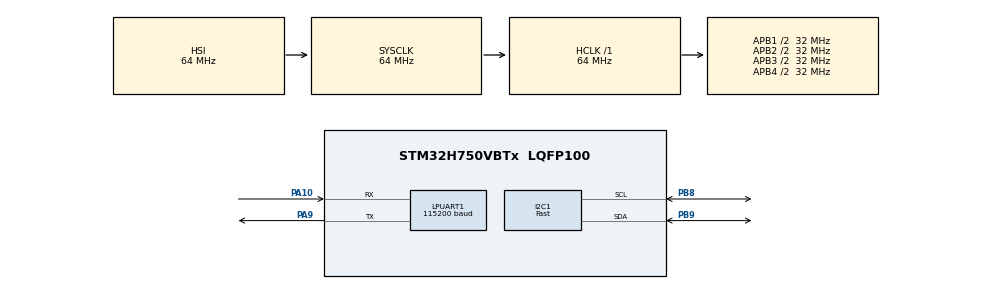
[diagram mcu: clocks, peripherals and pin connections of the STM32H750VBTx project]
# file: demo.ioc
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Dma.I2C1_TX.0.Direction=DMA_MEMORY_TO_PERIPH
Dma.I2C1_TX.0.EventEnable=DISABLE
Dma.I2C1_TX.0.FIFOMode=DMA_FIFOMODE_DISABLE
Dma.I2C1_TX.0.Instance=DMA1_Stream0
Dma.I2C1_TX.0.MemDataAlignment=DMA_MDATAALIGN_BYTE
Dma.I2C1_TX.0.MemInc=DMA_MINC_ENABLE
Dma.I2C1_TX.0.Mode=DMA_NORMAL
Dma.I2C1_TX.0.PeriphDataAlignment=DMA_PDATAALIGN_BYTE
Dma.I2C1_TX.0.PeriphInc=DMA_PINC_DISABLE
Dma.I2C1_TX.0.Polarity=HAL_DMAMUX_REQ_GEN_RISING
Dma.I2C1_TX.0.Priority=DMA_PRIORITY_LOW
Dma.I2C1_TX.0.RequestNumber=1
Dma.I2C1_TX.0.SignalID=NONE
Dma.I2C1_TX.0.SyncEnable=DISABLE
Dma.I2C1_TX.0.SyncPolarity=HAL_DMAMUX_SYNC_NO_EVENT
Dma.I2C1_TX.0.SyncRequestNumber=1
Dma.I2C1_TX.0.SyncSignalID=NONE
Dma.Request0=I2C1_TX
I2C1.I2C_Fall_Time=0
I2C1.I2C_Rise_Time=0
I2C1.I2C_Speed_Mode=I2C_Fast
I2C1.Speed=400
I2C1.Timing=0x00300F38
LPUART1.BaudRate=115200
Mcu.Family=STM32H7
Mcu.Name=STM32H750VBTx
Mcu.Package=LQFP100
NVIC.DMA1_Stream0_IRQn=true\:2\:0\:true\:false\:true\:false\:true\:true
NVIC.I2C1_ER_IRQn=true\:1\:0\:true\:false\:true\:true\:true\:true
NVIC.I2C1_EV_IRQn=true\:1\:0\:true\:false\:true\:true\:true\:true
NVIC.PriorityGroup=NVIC_PRIORITYGROUP_4
PA10.Mode=Asynchronous
PA10.Signal=LPUART1_RX
PA9.Mode=Asynchronous
PA9.Signal=LPUART1_TX
PB8.Mode=I2C
PB8.Signal=I2C1_SCL
PB9.Mode=I2C
PB9.Signal=I2C1_SDA
PC14-OSC32_IN\ (OSC32_IN).Mode=LSE-External-Oscillator
PC14-OSC32_IN\ (OSC32_IN).Signal=RCC_OSC32_IN
PC15-OSC32_OUT\ (OSC32_OUT).Mode=LSE-External-Oscillator
PC15-OSC32_OUT\ (OSC32_OUT).Signal=RCC_OSC32_OUT
PH0-OSC_IN\ (PH0).Mode=HSE-External-Oscillator
PH0-OSC_IN\ (PH0).Signal=RCC_OSC_IN
PH1-OSC_OUT\ (PH1).Mode=HSE-External-Oscillator
PH1-OSC_OUT\ (PH1).Signal=RCC_OSC_OUT
ProjectManager.HeapSize=0x200
ProjectManager.StackSize=0x400
ProjectManager.TargetToolchain=MDK-ARM V5.32
RCC.ADCFreq_Value=129000000
RCC.APB1Freq_Value=32000000
RCC.APB2Freq_Value=32000000
RCC.APB3Freq_Value=32000000
RCC.APB4Freq_Value=32000000
RCC.CortexFreq_Value=64000000
RCC.D1PPRE=RCC_APB3_DIV2
RCC.D2PPRE1=RCC_APB1_DIV2
RCC.D2PPRE2=RCC_APB2_DIV2
RCC.D3PPRE=RCC_APB4_DIV2
RCC.HCLKFreq_Value=64000000
RCC.SYSCLKFreq_VALUE=64000000
RCC.USBFreq_Value=129000000
board=custom

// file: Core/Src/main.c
/* USER CODE BEGIN Header */
/**
  ******************************************************************************
  * @file           : main.c
  * @brief          : Main program body
  ******************************************************************************
  * @attention
  *
  * Copyright (c) 2023 STMicroelectronics.
  * All rights reserved.
  *
  * This software is licensed under terms that can be found in the LICENSE file
  * in the root directory of this software component.
  * If no LICENSE file comes with this software, it is provided AS-IS.
  *
  ******************************************************************************
  */
/* USER CODE END Header */
#include "main.h"
#include "dma.h"
#include "i2c.h"
#include "usart.h"
#include "gpio.h"

/* USER CODE BEGIN Includes */
#include <stdio.h>
#include <string.h>
#include "24C02Dev.h"
/* USER CODE END Includes */

/* USER CODE BEGIN PD */
uint8_t I2C_Buffer_Write[256];
ALIGN_32BYTES (uint8_t I2C_Buffer_Write[256]) __attribute__((section(".ARM.__at_0x30000000")));
uint8_t I2C_Buffer_Read[256];
uint16_t i;
/* USER CODE END PD */

void SystemClock_Config(void);

int main(void)
{

  /* MCU Configuration--------------------------------------------------------*/

  /* Reset of all peripherals, Initializes the Flash interface and the Systick. */
  HAL_Init();

  /* Configure the system clock */
  SystemClock_Config();

  /* Initialize all configured peripherals */
  MX_GPIO_Init();
  MX_LPUART1_UART_Init();
  MX_DMA_Init();
  MX_I2C1_Init();

  /* Infinite loop */
  while (1)
  {

    /* USER CODE BEGIN 3 */
		printf("\r\n \r\n*********STM32CubeMX I2C AT24C02 Example*********\r\n");
	  for(i=0; i<256; i++)
	  {
      I2C_Buffer_Write[i]=i;    /* WriteBuffer Initialization */
	  }

    if(AT24C02_write_Array(0, I2C_Buffer_Write, sizeof(I2C_Buffer_Write)) == HAL_OK){
        printf("Write OK\r\n");
		}
		else{
			  printf("Write Failed\r\n");
	  }

	  /* write data to AT24C02 */
	  static HAL_StatusTypeDef state;

	  /* read data from EEPROM */
	  printf("\r\n Reading from AT24C02:\r\n");
		state = HAL_I2C_Mem_Read(&hi2c1, ADDR_AT24C02_Read, 0, I2C_MEMADD_SIZE_8BIT,I2C_Buffer_Read,256, 1000);

	  for(i=0; i<256; i++)
	  {
		  printf("0x%02X  ",I2C_Buffer_Read[i]);
	  }
	  HAL_Delay(500);
//

	  if(memcmp(I2C_Buffer_Read,I2C_Buffer_Write,256) == 0 ) /* check data */
			printf("\r\n AT24C02 Read Test OK DATA\r\n");
	  else
	      printf("\r\n AT24C02 Read Test Failed\r\n");

    while (1);
  }
  /* USER CODE END 3 */
}

void SystemClock_Config(void)
{
  RCC_OscInitTypeDef RCC_OscInitStruct = {0};
  RCC_ClkInitTypeDef RCC_ClkInitStruct = {0};

  /** Supply configuration update enable
  */
  HAL_PWREx_ConfigSupply(PWR_LDO_SUPPLY);

  /** Configure the main internal regulator output voltage
  */
  __HAL_PWR_VOLTAGESCALING_CONFIG(PWR_REGULATOR_VOLTAGE_SCALE3);

  while(!__HAL_PWR_GET_FLAG(PWR_FLAG_VOSRDY)) {}

  /** Initializes the RCC Oscillators according to the specified parameters
  * in the RCC_OscInitTypeDef structure.
  */
  RCC_OscInitStruct.OscillatorType = RCC_OSCILLATORTYPE_HSI;
  RCC_OscInitStruct.HSIState = RCC_HSI_DIV1;
  RCC_OscInitStruct.HSICalibrationValue = RCC_HSICALIBRATION_DEFAULT;
  RCC_OscInitStruct.PLL.PLLState = RCC_PLL_NONE;
  if (HAL_RCC_OscConfig(&RCC_OscInitStruct) != HAL_OK)
  {
    Error_Handler();
  }

  /** Initializes the CPU, AHB and APB buses clocks
  */
  RCC_ClkInitStruct.ClockType = RCC_CLOCKTYPE_HCLK|RCC_CLOCKTYPE_SYSCLK
                              |RCC_CLOCKTYPE_PCLK1|RCC_CLOCKTYPE_PCLK2
                              |RCC_CLOCKTYPE_D3PCLK1|RCC_CLOCKTYPE_D1PCLK1;
  RCC_ClkInitStruct.SYSCLKSource = RCC_SYSCLKSOURCE_HSI;
  RCC_ClkInitStruct.SYSCLKDivider = RCC_SYSCLK_DIV1;
  RCC_ClkInitStruct.AHBCLKDivider = RCC_HCLK_DIV1;
  RCC_ClkInitStruct.APB3CLKDivider = RCC_APB3_DIV2;
  RCC_ClkInitStruct.APB1CLKDivider = RCC_APB1_DIV2;
  RCC_ClkInitStruct.APB2CLKDivider = RCC_APB2_DIV2;
  RCC_ClkInitStruct.APB4CLKDivider = RCC_APB4_DIV2;

  if (HAL_RCC_ClockConfig(&RCC_ClkInitStruct, FLASH_LATENCY_1) != HAL_OK)
  {
    Error_Handler();
  }
}

void Error_Handler(void)
{
  __disable_irq();
  while (1)
  {
  }
}
